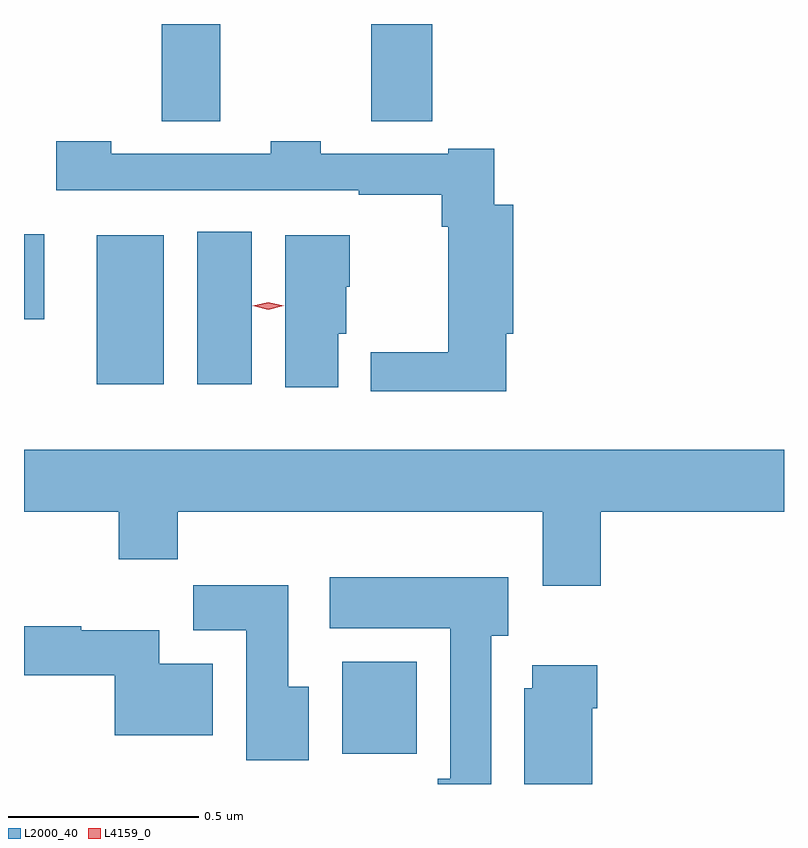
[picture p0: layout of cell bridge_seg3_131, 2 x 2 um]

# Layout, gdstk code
import gdstk
lib = gdstk.Library(unit=1e-6, precision=1e-09)
def R(c, l, rs):  # rectangles x0, y0, x1, y1
    for r in rs: c.add(gdstk.rectangle(r[:2], r[2:], *l))
def P(c, l, *ps):  # polygons
    for p in ps: c.add(gdstk.Polygon(p, *l))
L2000_40 = (2000, 40)
L4159_0 = (4159, 0)

bridge_seg3_131 = lib.new_cell('bridge_seg3_131')
R(bridge_seg3_131, L2000_40, [(271.403,677.636,271.6,677.878), (270.758,678.608,270.934,679), (271.022,678.608,271.165,679.009), (270.566,678.779,270.619,679.003), (270.928,679.3,271.082,679.556), (271.48,679.3,271.64,679.556)])
P(bridge_seg3_131, L2000_40, [(271.835,678.741),(271.853,678.741),(271.853,679.081),(271.804,679.081),(271.804,679.228),(271.682,679.228),(271.682,679.215),(271.347,679.215),(271.347,679.248),(271.215,679.248),(271.215,679.215),(270.795,679.215),(270.795,679.248),(270.651,679.248),(270.651,679.119),(271.447,679.119),(271.447,679.107),(271.665,679.107),(271.665,679.022),(271.682,679.022),(271.682,678.692),(271.479,678.692),(271.479,678.59),(271.835,678.59)],
  [(271.393,678.741),(271.414,678.741),(271.414,678.864),(271.423,678.864),(271.423,679),(271.253,679),(271.253,678.6),(271.393,678.6)],
  [(272.084,678.272),(272.566,678.272),(272.566,678.436),(270.566,678.436),(270.566,678.272),(270.815,678.272),(270.815,678.148),(270.971,678.148),(270.971,678.272),(271.931,678.272),(271.931,678.078),(272.084,678.078)],
  [(271.795,677.946),(271.84,677.946),(271.84,678.1),(271.371,678.1),(271.371,677.966),(271.688,677.966),(271.688,677.57),(271.655,677.57),(271.655,677.556),(271.795,677.556)],
  [(271.315,677.812),(271.261,677.812),(271.261,678.079),(271.012,678.079),(271.012,677.96),(271.151,677.96),(271.151,677.619),(271.315,677.619)],
  [(271.063,677.872),(270.922,677.872),(270.922,677.96),(270.716,677.96),(270.716,677.971),(270.566,677.971),(270.566,677.842),(270.805,677.842),(270.805,677.684),(271.063,677.684)],
  [(272.062,677.756),(272.075,677.756),(272.075,677.869),(271.904,677.869),(271.904,677.808),(271.883,677.808),(271.883,677.556),(272.062,677.556)])
P(bridge_seg3_131, L4159_0, [(271.209,678.804),(271.168,678.814),(271.168,678.814),(271.168,678.814),(271.209,678.824),(271.249,678.814),(271.25,678.814),(271.249,678.814)])

lib.write_gds('bridge_seg3_131.gds')
